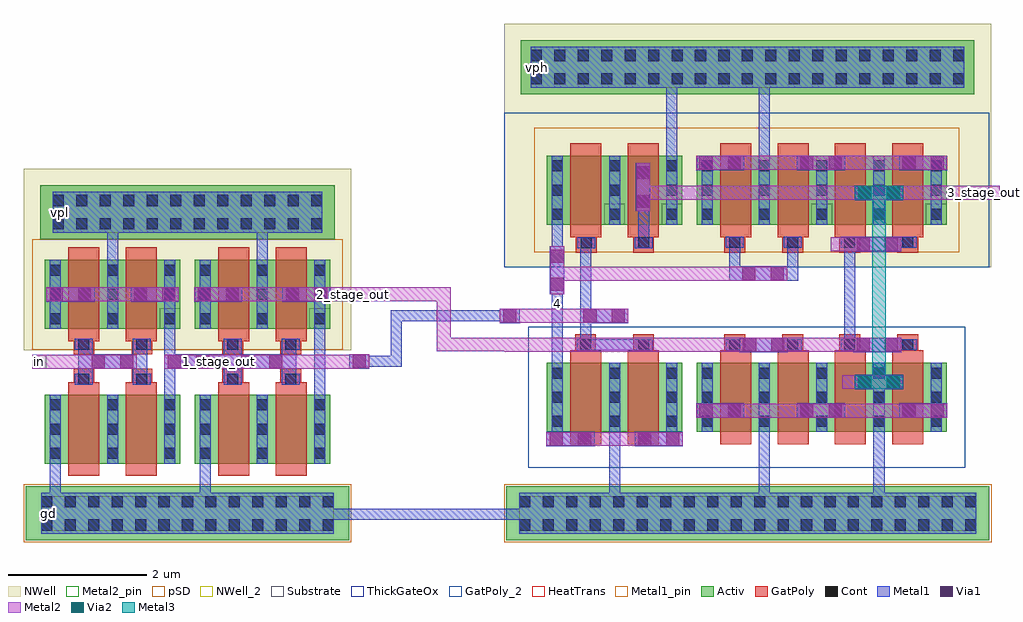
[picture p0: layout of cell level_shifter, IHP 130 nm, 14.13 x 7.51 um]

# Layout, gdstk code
from math import pi, radians
import gdstk
lib = gdstk.Library(unit=1e-6, precision=1e-09)
def R(c, l, rs):  # rectangles x0, y0, x1, y1
    for r in rs: c.add(gdstk.rectangle(r[:2], r[2:], *l))
def A(c, l, x, y, w, h, nx, ny, dx, dy):  # array of equal rectangles
    R(c, l, [(x+i*dx, y+j*dy, x+i*dx+w, y+j*dy+h) for i in range(nx) for j in range(ny)])
Activ = (1, 0)
GatPoly = (5, 0)
GatPoly_2 = (5, 2)
Cont = (6, 0)
Metal1 = (8, 0)
Metal1_pin = (8, 2)
Metal2 = (10, 0)
Metal2_pin = (10, 2)
pSD = (14, 0)
Via1 = (19, 0)
Via2 = (29, 0)
Metal3 = (30, 0)
NWell = (31, 0)
NWell_2 = (31, 2)
Substrate = (40, 0)
ThickGateOx = (44, 0)
HeatTrans = (51, 0)

nmos = lib.new_cell('nmos')
R(nmos, Activ, [(0,0,0.3,0.3), (0,0,1.13,1), (0.83,0,1.13,0.3)])
R(nmos, GatPoly, [(0.34,-0.18,0.79,1.18)])
R(nmos, GatPoly_2, [(0.34,-0.18,0.79,1.18)])
A(nmos, Cont, 0.07, 0.07, 0.16, 0.16, 1, 3, 0, 0.35)
A(nmos, Cont, 0.9, 0.07, 0.16, 0.16, 1, 3, 0, 0.35)
R(nmos, Metal1, [(0.07,0,0.23,1), (0.9,0,1.06,1)])
R(nmos, Metal1_pin, [(0.07,0,0.23,1), (0.9,0,1.06,1)])
R(nmos, HeatTrans, [(0.34,-0.18,0.79,1.18)])
nmos.add(gdstk.Label('nmos', (0.565,0.5), layer=63, texttype=0))
nmos.add(gdstk.Label('nmos', (0.565,0.5), layer=51, texttype=0))

pmos = lib.new_cell('pmos')
A(pmos, Activ, 0, 0, 0.3, 0.3, 3, 1, 0.83, 0)
R(pmos, Activ, [(0,0,1.96,1)])
R(pmos, GatPoly, [(0.34,-0.18,0.79,1.18), (0.34,-0.18,0.79,1.18), (1.17,-0.18,1.62,1.18)])
A(pmos, Cont, 0.07, 0.07, 0.16, 0.16, 3, 3, 0.83, 0.35)
R(pmos, Metal1, [(0.07,0,0.23,1), (0.07,0,0.23,1), (0.9,0,1.06,1), (0.9,0,1.06,1), (1.73,0,1.89,1)])
R(pmos, pSD, [(-0.18,-0.3,2.14,1.3)])
R(pmos, NWell, [(-0.31,-0.31,2.27,1.31)])
R(pmos, Substrate, [(1.66,0,1.96,0.3)])
R(pmos, HeatTrans, [(0.34,-0.18,0.79,1.18), (1.17,-0.18,1.62,1.18)])
pmos.add(gdstk.Label('pmos', (0.565,0.5), layer=63, texttype=0))
pmos.add(gdstk.Label('pmos', (0.565,0.5), layer=51, texttype=0))
pmos.add(gdstk.Label('pmos', (1.395,0.5), layer=51, texttype=0))

ntap1 = lib.new_cell('ntap1')
R(ntap1, Activ, [(0,0,4.27,0.78)])
A(ntap1, Cont, 0.185, 0.14, 0.16, 0.16, 12, 2, 0.34, 0.34)
R(ntap1, Metal1, [(0.185,0.09,4.085,0.69)])
R(ntap1, Metal1_pin, [(0.185,0.09,4.085,0.69), (0.185,0.14,4.085,0.64)])
R(ntap1, NWell, [(-0.24,-0.24,4.51,1.02), (0,0,4.27,0.78)])
R(ntap1, NWell_2, [(0,0,4.27,0.78)])
ntap1.add(gdstk.Label('well', (2.135,0.01), layer=31, texttype=0))
ntap1.add(gdstk.Label('well', (2.135,0.01), layer=63, texttype=0))

via_3 = lib.new_cell('Via$3')
R(via_3, Metal1, [(-0.35,-0.105,0.35,0.105)])
R(via_3, Metal2, [(-0.35,-0.1,0.35,0.1)])
R(via_3, Via1, [(-0.3,-0.095,-0.11,0.095), (0.11,-0.095,0.3,0.095)])

ptap1 = lib.new_cell('ptap1')
R(ptap1, Activ, [(0,0,4.69,0.78)])
A(ptap1, Cont, 0.225, 0.14, 0.16, 0.16, 13, 2, 0.34, 0.34)
R(ptap1, Metal1, [(0.225,0.09,4.465,0.69), (0.225,0.14,4.465,0.64)])
R(ptap1, Metal1_pin, [(0.225,0.14,4.465,0.64)])
R(ptap1, pSD, [(-0.03,-0.03,4.72,0.81)])
R(ptap1, Substrate, [(0,0,4.69,0.78)])
ptap1.add(gdstk.Label('sub!', (2.345,0.01), layer=63, texttype=0))
ptap1.add(gdstk.Label('sub!', (2.345,0.01), layer=40, texttype=0))

via = lib.new_cell('Via')
R(via, GatPoly, [(-0.15,-0.15,0.15,0.15)])
R(via, Cont, [(-0.08,-0.08,0.08,0.08)])
R(via, Metal1, [(-0.13,-0.08,0.13,0.08)])

pmoshv = lib.new_cell('pmosHV')
R(pmoshv, Activ, [(0,0,0.3,0.3), (0,0,1.13,1), (0.83,0,1.13,0.3)])
R(pmoshv, GatPoly, [(0.34,-0.18,0.79,1.18)])
R(pmoshv, GatPoly_2, [(0.34,-0.18,0.79,1.18)])
A(pmoshv, Cont, 0.07, 0.07, 0.16, 0.16, 1, 3, 0, 0.35)
A(pmoshv, Cont, 0.9, 0.07, 0.16, 0.16, 1, 3, 0, 0.35)
R(pmoshv, Metal1, [(0.07,0,0.23,1), (0.9,0,1.06,1)])
R(pmoshv, Metal1_pin, [(0.07,0,0.23,1), (0.9,0,1.06,1)])
R(pmoshv, pSD, [(-0.18,-0.4,1.31,1.4)])
R(pmoshv, NWell, [(-0.62,-0.62,1.75,1.62)])
R(pmoshv, Substrate, [(0.83,0,1.13,0.3)])
R(pmoshv, ThickGateOx, [(-0.62,-0.62,1.75,1.62)])
R(pmoshv, HeatTrans, [(0.34,-0.18,0.79,1.18)])
pmoshv.add(gdstk.Label('pmosHV', (0.565,0.5), layer=63, texttype=0))
pmoshv.add(gdstk.Label('pmos', (0.565,0.5), layer=51, texttype=0))

pmoshv_1 = lib.new_cell('pmosHV$1')
A(pmoshv_1, Activ, 0, 0, 0.3, 0.3, 3, 1, 0.83, 0)
R(pmoshv_1, Activ, [(0,0,1.96,1)])
R(pmoshv_1, GatPoly, [(0.34,-0.18,0.79,1.18), (1.17,-0.18,1.62,1.18)])
R(pmoshv_1, GatPoly_2, [(0.34,-0.18,0.79,1.18)])
A(pmoshv_1, Cont, 0.07, 0.07, 0.16, 0.16, 3, 3, 0.83, 0.35)
A(pmoshv_1, Metal1, 0.07, 0, 0.16, 1, 3, 1, 0.83, 0)
R(pmoshv_1, Metal1_pin, [(0.07,0,0.23,1), (0.9,0,1.06,1)])
R(pmoshv_1, pSD, [(-0.18,-0.4,2.14,1.4)])
R(pmoshv_1, NWell, [(-0.62,-0.62,2.58,1.62)])
R(pmoshv_1, Substrate, [(1.66,0,1.96,0.3)])
R(pmoshv_1, ThickGateOx, [(-0.62,-0.62,2.58,1.62)])
R(pmoshv_1, HeatTrans, [(0.34,-0.18,0.79,1.18), (1.17,-0.18,1.62,1.18)])
pmoshv_1.add(gdstk.Label('pmosHV', (0.565,0.5), layer=63, texttype=0))
pmoshv_1.add(gdstk.Label('pmos', (0.565,0.5), layer=51, texttype=0))
pmoshv_1.add(gdstk.Label('pmos', (1.395,0.5), layer=51, texttype=0))

nmoshv_1 = lib.new_cell('nmosHV$1')
A(nmoshv_1, Activ, 0, 0, 0.3, 0.3, 5, 1, 0.83, 0)
R(nmoshv_1, Activ, [(0,0,3.62,1)])
A(nmoshv_1, GatPoly, 0.34, -0.18, 0.45, 1.36, 4, 1, 0.83, 0)
R(nmoshv_1, GatPoly_2, [(0.34,-0.18,0.79,1.18)])
A(nmoshv_1, Cont, 0.07, 0.07, 0.16, 0.16, 5, 3, 0.83, 0.35)
A(nmoshv_1, Metal1, 0.07, 0, 0.16, 1, 5, 1, 0.83, 0)
R(nmoshv_1, Metal1_pin, [(0.07,0,0.23,1), (0.9,0,1.06,1)])
R(nmoshv_1, ThickGateOx, [(-0.27,-0.52,3.89,1.52)])
A(nmoshv_1, HeatTrans, 0.34, -0.18, 0.45, 1.36, 4, 1, 0.83, 0)
nmoshv_1.add(gdstk.Label('nmosHV', (0.565,0.5), layer=63, texttype=0))
nmoshv_1.add(gdstk.Label('nmosHV', (0.565,0.5), layer=51, texttype=0))
nmoshv_1.add(gdstk.Label('nmosHV', (1.395,0.5), layer=51, texttype=0))
nmoshv_1.add(gdstk.Label('nmosHV', (2.225,0.5), layer=51, texttype=0))
nmoshv_1.add(gdstk.Label('nmosHV', (3.055,0.5), layer=51, texttype=0))

ntap1_1 = lib.new_cell('ntap1$1')
R(ntap1_1, Activ, [(0,0,6.57,0.78)])
A(ntap1_1, Cont, 0.145, 0.14, 0.16, 0.16, 19, 2, 0.34, 0.34)
R(ntap1_1, Metal1, [(0.145,0.09,6.425,0.69)])
R(ntap1_1, Metal1_pin, [(0.145,0.09,6.425,0.69), (0.145,0.14,6.425,0.64)])
R(ntap1_1, NWell, [(-0.24,-0.24,6.81,1.02), (0,0,6.57,0.78)])
R(ntap1_1, NWell_2, [(0,0,6.57,0.78)])
ntap1_1.add(gdstk.Label('well', (3.285,0.01), layer=31, texttype=0))
ntap1_1.add(gdstk.Label('well', (3.285,0.01), layer=63, texttype=0))

nmoshv = lib.new_cell('nmosHV')
A(nmoshv, Activ, 0, 0, 0.3, 0.3, 3, 1, 0.83, 0)
R(nmoshv, Activ, [(0,0,1.96,1)])
R(nmoshv, GatPoly, [(0.34,-0.18,0.79,1.18), (1.17,-0.18,1.62,1.18)])
R(nmoshv, GatPoly_2, [(0.34,-0.18,0.79,1.18)])
A(nmoshv, Cont, 0.07, 0.07, 0.16, 0.16, 3, 3, 0.83, 0.35)
A(nmoshv, Metal1, 0.07, 0, 0.16, 1, 3, 1, 0.83, 0)
R(nmoshv, Metal1_pin, [(0.07,0,0.23,1), (0.9,0,1.06,1)])
R(nmoshv, ThickGateOx, [(-0.27,-0.52,2.23,1.52)])
R(nmoshv, HeatTrans, [(0.34,-0.18,0.79,1.18), (1.17,-0.18,1.62,1.18)])
nmoshv.add(gdstk.Label('nmosHV', (0.565,0.5), layer=63, texttype=0))
nmoshv.add(gdstk.Label('nmosHV', (0.565,0.5), layer=51, texttype=0))
nmoshv.add(gdstk.Label('nmosHV', (1.395,0.5), layer=51, texttype=0))

ptap1_1 = lib.new_cell('ptap1$1')
R(ptap1_1, Activ, [(0,0,7,0.78)])
A(ptap1_1, Cont, 0.19, 0.14, 0.16, 0.16, 20, 2, 0.34, 0.34)
R(ptap1_1, Metal1, [(0.19,0.09,6.81,0.69), (0.19,0.14,6.81,0.64)])
R(ptap1_1, Metal1_pin, [(0.19,0.14,6.81,0.64)])
R(ptap1_1, pSD, [(-0.03,-0.03,7.03,0.81)])
R(ptap1_1, Substrate, [(0,0,7,0.78)])
ptap1_1.add(gdstk.Label('sub!', (3.5,0.01), layer=63, texttype=0))
ptap1_1.add(gdstk.Label('sub!', (3.5,0.01), layer=40, texttype=0))

via_2 = lib.new_cell('Via$2')
R(via_2, Metal1, [(-0.35,-0.105,0.35,0.105)])
R(via_2, Metal2, [(-0.35,-0.1,0.35,0.1)])
R(via_2, Via1, [(-0.3,-0.095,-0.11,0.095), (0.11,-0.095,0.3,0.095)])

via_7 = lib.new_cell('Via$7')
R(via_7, Metal2, [(-0.35,-0.1,0.35,0.1)])
R(via_7, Via2, [(-0.3,-0.095,-0.11,0.095), (0.11,-0.095,0.3,0.095)])
R(via_7, Metal3, [(-0.35,-0.1,0.35,0.1)])

via_5 = lib.new_cell('Via$5')
R(via_5, Metal1, [(-0.145,-0.105,0.145,0.105)])
R(via_5, Metal2, [(-0.145,-0.1,0.145,0.1)])
R(via_5, Via1, [(-0.095,-0.095,0.095,0.095)])

via_4 = lib.new_cell('Via$4')
R(via_4, Metal1, [(-0.145,-0.105,0.145,0.105)])
R(via_4, Metal2, [(-0.145,-0.1,0.145,0.1)])
R(via_4, Via1, [(-0.095,-0.095,0.095,0.095)])

level_shifter = lib.new_cell('level_shifter')
R(level_shifter, Metal1, [(23.125,24.025,23.175,24.375), (23.755,24.025,23.965,24.375), (25.07,24.025,25.12,24.375), (25.28,24.025,25.33,24.375), (25.91,24.025,25.965,24.375), (24.91,24.095,25.29,24.305)])
R(level_shifter, Metal1_pin, [(22.425,21.905,22.625,22.105), (22.595,26.265,22.795,26.465), (29.515,28.365,29.715,28.565)])
R(level_shifter, Metal2_pin, [(22.3,24.1,22.5,24.3)])
R(level_shifter, NWell, [(29.13,25.565,36.185,29.095)])
level_shifter.add(gdstk.FlexPath([(22.63,22.725),(22.63,22.305)], 0.16, ends="flush", simple_path=True, layer=8, datatype=0))  # Metal1
level_shifter.add(gdstk.FlexPath([(25.2,23.945),(25.2,24.455)], 0.16, ends="flush", simple_path=True, layer=8, datatype=0))  # Metal1
level_shifter.add(gdstk.FlexPath([(26.04,23.945),(26.04,24.455)], 0.16, ends="flush", simple_path=True, layer=8, datatype=0))  # Metal1
level_shifter.add(gdstk.FlexPath([(24.83,25.175),(24.83,25.175)], 0.16, ends="flush", simple_path=True, layer=8, datatype=0))  # Metal1
level_shifter.add(gdstk.FlexPath([(26.46,24.675),(26.46,23.725)], 0.16, ends="flush", simple_path=True, layer=8, datatype=0))  # Metal1
level_shifter.add(gdstk.FlexPath([(24.8,22.725),(24.8,22.305)], 0.16, ends="flush", simple_path=True, layer=8, datatype=0))  # Metal1
level_shifter.add(gdstk.FlexPath([(23.46,25.675),(23.46,26.065)], 0.16, ends="flush", simple_path=True, layer=8, datatype=0))  # Metal1
level_shifter.add(gdstk.FlexPath([(25.63,25.675),(25.63,26.065)], 0.16, ends="flush", simple_path=True, layer=8, datatype=0))  # Metal1
level_shifter.add(gdstk.FlexPath([(31.15,24.445),(30.31,24.445)], 0.16, ends="flush", simple_path=True, layer=8, datatype=0))  # Metal1
level_shifter.add(gdstk.FlexPath([(30.31,25.925),(30.31,24.445)], 0.16, ends="flush", simple_path=True, layer=8, datatype=0))  # Metal1
level_shifter.add(gdstk.FlexPath([(30.31,25.135),(30.31,25.135)], 0.16, ends="flush", simple_path=True, layer=8, datatype=0))  # Metal1
level_shifter.add(gdstk.FlexPath([(29.92,23.08),(29.92,23.08)], 0.16, ends="flush", simple_path=True, layer=8, datatype=0))  # Metal1
level_shifter.add(gdstk.FlexPath([(29.9,26.185),(29.9,24.185)], 0.16, ends="flush", simple_path=True, layer=8, datatype=0))  # Metal1
level_shifter.add(gdstk.FlexPath([(30.73,23.185),(30.73,22.305)], 0.16, ends="flush", simple_path=True, layer=8, datatype=0))  # Metal1
level_shifter.add(gdstk.FlexPath([(31.56,27.185),(31.56,28.165)], 0.16, ends="flush", simple_path=True, layer=8, datatype=0))  # Metal1
level_shifter.add(gdstk.FlexPath([(32.9,27.185),(32.9,28.165)], 0.16, ends="flush", simple_path=True, layer=8, datatype=0))  # Metal1
level_shifter.add(gdstk.FlexPath([(34.135,25.93),(34.975,25.93)], 0.16, ends="flush", simple_path=True, layer=8, datatype=0))  # Metal1
level_shifter.add(gdstk.FlexPath([(31.15,25.925),(31.15,25.925)], 0.16, ends="flush", simple_path=True, layer=8, datatype=0))  # Metal1
level_shifter.add(gdstk.FlexPath([(34.56,26.645),(34.56,26.645)], 0.16, ends="flush", simple_path=True, layer=8, datatype=0))  # Metal1
level_shifter.add(gdstk.FlexPath([(32.47,25.93),(32.47,25.37)], 0.16, ends="flush", simple_path=True, layer=8, datatype=0))  # Metal1
level_shifter.add(gdstk.FlexPath([(33.31,25.93),(33.31,25.37)], 0.16, ends="flush", simple_path=True, layer=8, datatype=0))  # Metal1
level_shifter.add(gdstk.FlexPath([(34.135,25.93),(34.135,24.445)], 0.16, ends="flush", simple_path=True, layer=8, datatype=0))  # Metal1
level_shifter.add(gdstk.FlexPath([(31.15,25.925),(31.15,26.645)], 0.16, ends="flush", simple_path=True, layer=8, datatype=0))  # Metal1
level_shifter.add(gdstk.FlexPath([(27.035,24.205),(27.57,24.205),(27.57,24.865),(29.21,24.865)], 0.16, ends="flush", simple_path=True, layer=8, datatype=0))  # Metal1
level_shifter.add(gdstk.FlexPath([(32.47,24.445),(33.31,24.445)], 0.16, ends="flush", simple_path=True, layer=8, datatype=0))  # Metal1
level_shifter.add(gdstk.FlexPath([(34.135,24.445),(34.975,24.445)], 0.16, ends="flush", simple_path=True, layer=8, datatype=0))  # Metal1
level_shifter.add(gdstk.FlexPath([(34.135,25.93),(34.975,25.93)], 0.16, ends="flush", simple_path=True, layer=8, datatype=0))  # Metal1
level_shifter.add(gdstk.FlexPath([(26.555,21.99),(29.695,21.99)], 0.16, ends="flush", simple_path=True, layer=8, datatype=0))  # Metal1
level_shifter.add(gdstk.FlexPath([(32.9,23.185),(32.9,22.305)], 0.16, ends="flush", simple_path=True, layer=8, datatype=0))  # Metal1
level_shifter.add(gdstk.FlexPath([(34.56,23.185),(34.56,22.305)], 0.16, ends="flush", simple_path=True, layer=8, datatype=0))  # Metal1
level_shifter.add(gdstk.FlexPath([(23.045,23.945),(23.045,24.455)], 0.16, ends="flush", simple_path=True, layer=8, datatype=0))  # Metal1
level_shifter.add(gdstk.FlexPath([(23.885,23.945),(23.885,24.455)], 0.16, ends="flush", simple_path=True, layer=8, datatype=0))  # Metal1
level_shifter.add(gdstk.FlexPath([(24.29,24.675),(24.29,23.725)], 0.16, ends="flush", simple_path=True, layer=8, datatype=0))  # Metal1
level_shifter.add(gdstk.FlexPath([(22.63,25.175),(22.63,25.175)], 0.16, ends="flush", simple_path=True, layer=8, datatype=0))  # Metal1
level_shifter.add(gdstk.FlexPath([(23.255,24.2),(22.3,24.2)], 0.2, ends="flush", simple_path=True, layer=10, datatype=0))  # Metal2
level_shifter.add(gdstk.FlexPath([(24.765,24.2),(25.415,24.2)], 0.2, ends="flush", simple_path=True, layer=10, datatype=0))  # Metal2
level_shifter.add(gdstk.FlexPath([(25.255,25.175),(26.065,25.175)], 0.2, ends="flush", simple_path=True, layer=10, datatype=0))  # Metal2
level_shifter.add(gdstk.FlexPath([(25.825,24.2),(27.035,24.2)], 0.2, ends="flush", simple_path=True, layer=10, datatype=0))  # Metal2
level_shifter.add(gdstk.FlexPath([(26.475,25.175),(27.035,25.175)], 0.2, ends="flush", simple_path=True, layer=10, datatype=0))  # Metal2
level_shifter.add(gdstk.FlexPath([(30.345,23.08),(31.155,23.08)], 0.2, ends="flush", simple_path=True, layer=10, datatype=0))  # Metal2
level_shifter.add(gdstk.FlexPath([(30.375,24.865),(29.13,24.865)], 0.2, ends="flush", simple_path=True, layer=10, datatype=0))  # Metal2
level_shifter.add(gdstk.FlexPath([(32.64,25.475),(29.9,25.475)], 0.2, ends="flush", simple_path=True, layer=10, datatype=0))  # Metal2
level_shifter.add(gdstk.FlexPath([(32.62,24.445),(29.14,24.445)], 0.2, ends="flush", simple_path=True, layer=10, datatype=0))  # Metal2
level_shifter.add(gdstk.FlexPath([(33.86,25.9),(34.33,25.9)], 0.2, ends="flush", simple_path=True, layer=10, datatype=0))  # Metal2
level_shifter.add(gdstk.FlexPath([(34.56,26.645),(34.56,26.645)], 0.2, ends="flush", simple_path=True, layer=10, datatype=0))  # Metal2
level_shifter.add(gdstk.FlexPath([(32.055,27.08),(35.55,27.08)], 0.2, ends="flush", simple_path=True, layer=10, datatype=0))  # Metal2
level_shifter.add(gdstk.FlexPath([(32.055,23.49),(35.55,23.49)], 0.2, ends="flush", simple_path=True, layer=10, datatype=0))  # Metal2
level_shifter.add(gdstk.FlexPath([(34.765,26.645),(31.145,26.645)], 0.2, ends="flush", simple_path=True, layer=10, datatype=0))  # Metal2
level_shifter.add(gdstk.FlexPath([(34.91,23.905),(34.025,23.905)], 0.2, ends="flush", simple_path=True, layer=10, datatype=0))  # Metal2
level_shifter.add(gdstk.FlexPath([(33.095,24.445),(34.74,24.445)], 0.2, ends="flush", simple_path=True, layer=10, datatype=0))  # Metal2
level_shifter.add(gdstk.FlexPath([(34.765,26.645),(36.305,26.645)], 0.2, ends="flush", simple_path=True, layer=10, datatype=0))  # Metal2
level_shifter.add(gdstk.FlexPath([(26.92,25.175),(28.255,25.175),(28.255,24.45),(29.14,24.45)], 0.2, ends="flush", simple_path=True, layer=10, datatype=0))  # Metal2
level_shifter.add(gdstk.FlexPath([(27.035,24.205),(27.035,24.205)], 0.2, ends="flush", simple_path=True, layer=10, datatype=0))  # Metal2
level_shifter.add(gdstk.FlexPath([(23.055,25.175),(23.865,25.175)], 0.2, ends="flush", simple_path=True, layer=10, datatype=0))  # Metal2
level_shifter.add(gdstk.FlexPath([(25.2,24.495),(25.2,24.495)], 0.16, ends="flush", simple_path=True, layer=5, datatype=0))  # GatPoly
level_shifter.add(gdstk.FlexPath([(23.045,24.495),(23.045,24.495)], 0.16, ends="flush", simple_path=True, layer=5, datatype=0))  # GatPoly
level_shifter.add(gdstk.FlexPath([(34.56,23.905),(34.56,26.645)], 0.2, ends="flush", simple_path=True, layer=30, datatype=0))  # Metal3
level_shifter.add(gdstk.Reference(nmos, (22.48,22.725)))
level_shifter.add(gdstk.Reference(nmos, (23.31,22.725)))
level_shifter.add(gdstk.Reference(pmos, (24.65,24.675)))
level_shifter.add(gdstk.Reference(nmos, (24.65,22.725)))
level_shifter.add(gdstk.Reference(nmos, (25.48,22.725)))
level_shifter.add(gdstk.Reference(ntap1, (22.41,25.975)))
level_shifter.add(gdstk.Reference(via_3, (24.07,25.175)))
level_shifter.add(gdstk.Reference(via_3, (22.85,25.175)))
level_shifter.add(gdstk.Reference(pmos, (22.48,24.675)))
level_shifter.add(gdstk.Reference(ptap1, (22.2,21.615)))
level_shifter.add(gdstk.Reference(via, (25.2,23.945)))
level_shifter.add(gdstk.Reference(via, (26.04,23.945)))
level_shifter.add(gdstk.Reference(via_3, (25.62,24.2)))
level_shifter.add(gdstk.Reference(via, (25.2,24.455)))
level_shifter.add(gdstk.Reference(via, (26.04,24.455)))
level_shifter.add(gdstk.Reference(via_3, (24.56,24.2)))
level_shifter.add(gdstk.Reference(via_3, (26.27,25.175)))
level_shifter.add(gdstk.Reference(via_3, (24.99,25.175)))
level_shifter.add(gdstk.Reference(pmoshv, (29.75,26.185)))
level_shifter.add(gdstk.Reference(pmoshv, (30.58,26.185)))
level_shifter.add(gdstk.Reference(pmoshv_1, (31.92,26.185)))
level_shifter.add(gdstk.Reference(nmoshv_1, (31.92,23.185)))
level_shifter.add(gdstk.Reference(pmoshv_1, (33.58,26.185)))
level_shifter.add(gdstk.Reference(ntap1_1, (29.37,28.075)))
level_shifter.add(gdstk.Reference(via, (23.885,24.455)))
level_shifter.add(gdstk.Reference(via, (23.045,24.455)))
level_shifter.add(gdstk.Reference(via_3, (23.46,24.2)))
level_shifter.add(gdstk.Reference(via, (23.885,23.945)))
level_shifter.add(gdstk.Reference(via, (23.045,23.945)))
level_shifter.add(gdstk.Reference(via, (30.31,24.445)))
level_shifter.add(gdstk.Reference(via, (31.15,24.445)))
level_shifter.add(gdstk.Reference(nmoshv, (29.75,23.185)))
level_shifter.add(gdstk.Reference(ptap1_1, (29.16,21.615)))
level_shifter.add(gdstk.Reference(via, (30.32,25.925), rotation=pi))
level_shifter.add(gdstk.Reference(via, (31.15,25.925)))
level_shifter.add(gdstk.Reference(via_2, (30.58,24.865)))
level_shifter.add(gdstk.Reference(via_3, (31.37,23.08)))
level_shifter.add(gdstk.Reference(via_3, (30.09,23.08)))
level_shifter.add(gdstk.Reference(via, (32.47,24.445)))
level_shifter.add(gdstk.Reference(via, (33.31,24.445)))
level_shifter.add(gdstk.Reference(via, (34.135,24.445), rotation=pi))
level_shifter.add(gdstk.Reference(via, (34.975,24.445)))
level_shifter.add(gdstk.Reference(via, (32.47,25.93)))
level_shifter.add(gdstk.Reference(via, (33.31,25.93)))
level_shifter.add(gdstk.Reference(via, (34.135,25.93)))
level_shifter.add(gdstk.Reference(via, (34.975,25.93)))
level_shifter.add(gdstk.Reference(via_2, (29.9,25.525), rotation=pi/2))
level_shifter.add(gdstk.Reference(via_2, (32.88,25.475)))
level_shifter.add(gdstk.Reference(via_2, (32.26,27.08)))
level_shifter.add(gdstk.Reference(via_2, (33.72,27.08)))
level_shifter.add(gdstk.Reference(via_2, (35.2,27.08)))
level_shifter.add(gdstk.Reference(via_2, (32.26,23.49)))
level_shifter.add(gdstk.Reference(via_2, (33.72,23.49)))
level_shifter.add(gdstk.Reference(via_2, (35.2,23.49)))
level_shifter.add(gdstk.Reference(via_2, (32.89,24.445)))
level_shifter.add(gdstk.Reference(via_2, (31.145,26.73), rotation=3*pi/2))
level_shifter.add(gdstk.Reference(via_2, (34.535,25.9)))
level_shifter.add(gdstk.Reference(via_2, (34.535,24.445)))
level_shifter.add(gdstk.Reference(via_2, (34.56,26.645)))
level_shifter.add(gdstk.Reference(via_7, (34.56,26.645)))
level_shifter.add(gdstk.Reference(via_2, (34.56,23.905)))
level_shifter.add(gdstk.Reference(via_7, (34.56,23.905)))
level_shifter.add(gdstk.Reference(via_5, (27.035,24.205)))
level_shifter.add(gdstk.Reference(via_4, (29.21,24.865)))
level_shifter.add(gdstk.Label('in', (22.4,24.2), layer=10, texttype=25))
level_shifter.add(gdstk.Label('2_stage_out', (26.95,25.175), layer=10, texttype=25))
level_shifter.add(gdstk.Label('1_stage_out', (25.015,24.2), layer=10, texttype=25))
level_shifter.add(gdstk.Label('3_stage_out', (36.24,26.645), layer=10, texttype=25))
level_shifter.add(gdstk.Label('vpl', (22.695,26.365), layer=8, texttype=25))
level_shifter.add(gdstk.Label('gd', (22.525,22.005), layer=8, texttype=25))
level_shifter.add(gdstk.Label('vph', (29.615,28.465), layer=8, texttype=25))
level_shifter.add(gdstk.Label('4', (29.9,25.045), layer=8, texttype=25))

lib.write_gds('level_shifter.gds')
